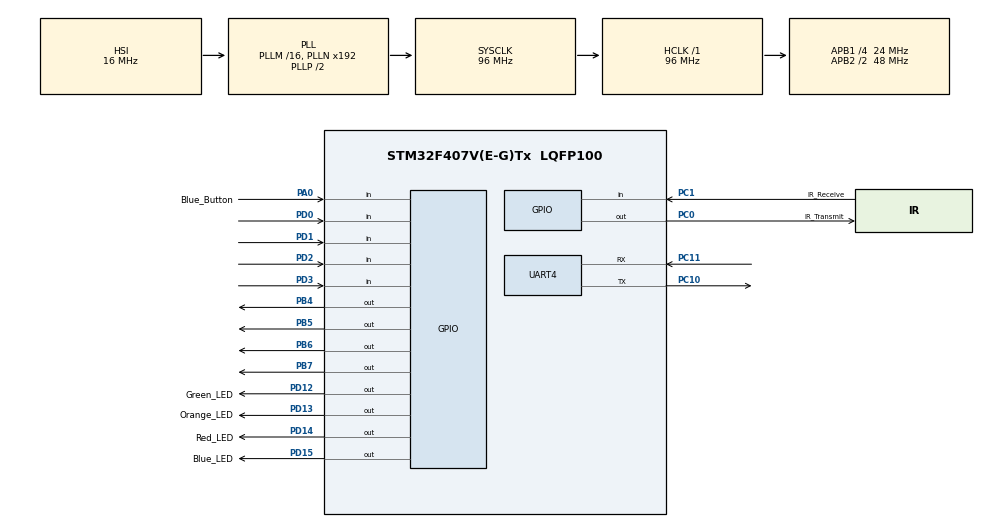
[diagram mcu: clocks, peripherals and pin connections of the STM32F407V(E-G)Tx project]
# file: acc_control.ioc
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Mcu.Family=STM32F4
Mcu.Name=STM32F407V(E-G)Tx
Mcu.Package=LQFP100
NVIC.PriorityGroup=NVIC_PRIORITYGROUP_4
NVIC.TIM6_DAC_IRQn=true\:0\:0\:false\:false\:true\:false\:true
NVIC.TimeBase=TIM6_DAC_IRQn
NVIC.TimeBaseIP=TIM6
PA0-WKUP.GPIO_Label=Blue_Button
PA0-WKUP.Signal=GPIO_Input
PA13.Mode=Serial_Wire
PA13.Signal=SYS_JTMS-SWDIO
PA14.Mode=Serial_Wire
PA14.Signal=SYS_JTCK-SWCLK
PB4.Signal=GPIO_Output
PB5.Signal=GPIO_Output
PB6.Signal=GPIO_Output
PB7.Signal=GPIO_Output
PC0.GPIO_Label=IR_Transmit
PC0.Signal=GPIO_Output
PC1.GPIO_Label=IR_Receive
PC1.Signal=GPIO_Input
PC10.Mode=Asynchronous
PC10.Signal=UART4_TX
PC11.Mode=Asynchronous
PC11.Signal=UART4_RX
PD0.Signal=GPIO_Input
PD1.Signal=GPIO_Input
PD12.GPIO_Label=Green_LED
PD12.Signal=GPIO_Output
PD13.GPIO_Label=Orange_LED
PD13.Signal=GPIO_Output
PD14.GPIO_Label=Red_LED
PD14.Signal=GPIO_Output
PD15.GPIO_Label=Blue_LED
PD15.Signal=GPIO_Output
PD2.Signal=GPIO_Input
PD3.Signal=GPIO_Input
ProjectManager.HeapSize=0x200
ProjectManager.StackSize=0x400
ProjectManager.TargetToolchain=STM32CubeIDE
RCC.AHBFreq_Value=96000000
RCC.APB1CLKDivider=RCC_HCLK_DIV4
RCC.APB1Freq_Value=24000000
RCC.APB1TimFreq_Value=48000000
RCC.APB2CLKDivider=RCC_HCLK_DIV2
RCC.APB2Freq_Value=48000000
RCC.APB2TimFreq_Value=96000000
RCC.CortexFreq_Value=96000000
RCC.HCLKFreq_Value=96000000
RCC.HSE_VALUE=25000000
RCC.HSI_VALUE=16000000
RCC.LSE_VALUE=32768
RCC.SYSCLKFreq_VALUE=96000000
RCC.SYSCLKSource=RCC_SYSCLKSOURCE_PLLCLK
RCC.VCOOutputFreq_Value=192000000
TIM1.Prescaler=76-1
UART4.VirtualMode=Asynchronous
VP_SYS_VS_tim6.Mode=TIM6
VP_TIM1_VS_ClockSourceINT.Mode=Internal
board=custom

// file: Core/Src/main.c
/* USER CODE BEGIN Header */
/**
  ******************************************************************************
  * @file           : main.c
  * @brief          : Main program body
  ******************************************************************************
  * @attention
  *
  * <h2><center>&copy; Copyright (c) 2021 STMicroelectronics.
  * All rights reserved.</center></h2>
  *
  * This software component is licensed by ST under BSD 3-Clause license,
  * the "License"; You may not use this file except in compliance with the
  * License. You may obtain a copy of the License at:
  *                        opensource.org/licenses/BSD-3-Clause
  *
  ******************************************************************************
  */
/* USER CODE END Header */
#include "main.h"

/* USER CODE BEGIN Includes */
#include "printf.h"
/* USER CODE END Includes */

TIM_HandleTypeDef htim1;

UART_HandleTypeDef huart4;

void SystemClock_Config(void);
static void MX_GPIO_Init(void);
static void MX_UART4_Init(void);
static void MX_TIM1_Init(void);

/* USER CODE BEGIN 0 */
void    led_task(void const *pvParameters);
void switch_task(void const *pvParameters);
void numpad_task(void const *pvParameters);
void ir_rev_task(void const *pvParameters);
void ir_trm_task(void const *pvParameters);

void delay_us (uint16_t us);
/* USER CODE END 0 */

int main(void)
{

  /* MCU Configuration--------------------------------------------------------*/

  /* Reset of all peripherals, Initializes the Flash interface and the Systick. */
  HAL_Init();

  /* Configure the system clock */
  SystemClock_Config();

  /* Initialize all configured peripherals */
  MX_GPIO_Init();
  MX_UART4_Init();
  MX_TIM1_Init();
  /* USER CODE BEGIN 2 */
  HAL_TIM_Base_Start(&htim1);

  //xTaskCreate(led_task, "led_task", 500, NULL, 1, NULL);
  //xTaskCreate(switch_task, "switch_task", 500, NULL, 1, NULL);
  //xTaskCreate(numpad_task, "numpad_task", 500, NULL, 1, NULL);
  //xTaskCreate(ir_rev_task, "ir_rev_task", 1000, NULL, 1, NULL);
  //xTaskCreate(ir_trm_task, "ir_trm_task", 500, NULL, 1, NULL);

  printf("\n\r[main] Start Scheduler \n\r");
  //vTaskStartScheduler();
  /* USER CODE END 2 */

  /* Infinite loop */
  /* USER CODE BEGIN WHILE */

  uint32_t temp;
  printf("[ir_rev_task] Start\n\r");
  printf("[ir_rev_task] State: wait 1st low \n\r");
  while (1)
  {
    /* USER CODE END WHILE */
	__HAL_TIM_SET_COUNTER(&htim1,0);
	while (HAL_GPIO_ReadPin (IR_Receive_GPIO_Port, IR_Receive_Pin));
	temp = __HAL_TIM_GET_COUNTER(&htim1);
	printf("+%d", temp);

	__HAL_TIM_SET_COUNTER(&htim1,0);
	while (!(HAL_GPIO_ReadPin (IR_Receive_GPIO_Port, IR_Receive_Pin)));
    temp = __HAL_TIM_GET_COUNTER(&htim1);
	printf("-%d", temp);

  }
}

void SystemClock_Config(void)
{
  RCC_OscInitTypeDef RCC_OscInitStruct = {0};
  RCC_ClkInitTypeDef RCC_ClkInitStruct = {0};

  /** Configure the main internal regulator output voltage
  */
  __HAL_RCC_PWR_CLK_ENABLE();
  __HAL_PWR_VOLTAGESCALING_CONFIG(PWR_REGULATOR_VOLTAGE_SCALE1);
  /** Initializes the RCC Oscillators according to the specified parameters
  * in the RCC_OscInitTypeDef structure.
  */
  RCC_OscInitStruct.OscillatorType = RCC_OSCILLATORTYPE_HSI;
  RCC_OscInitStruct.HSIState = RCC_HSI_ON;
  RCC_OscInitStruct.HSICalibrationValue = RCC_HSICALIBRATION_DEFAULT;
  RCC_OscInitStruct.PLL.PLLState = RCC_PLL_ON;
  RCC_OscInitStruct.PLL.PLLSource = RCC_PLLSOURCE_HSI;
  RCC_OscInitStruct.PLL.PLLM = 16;
  RCC_OscInitStruct.PLL.PLLN = 192;
  RCC_OscInitStruct.PLL.PLLP = RCC_PLLP_DIV2;
  RCC_OscInitStruct.PLL.PLLQ = 4;
  if (HAL_RCC_OscConfig(&RCC_OscInitStruct) != HAL_OK)
  {
    Error_Handler();
  }
  /** Initializes the CPU, AHB and APB buses clocks
  */
  RCC_ClkInitStruct.ClockType = RCC_CLOCKTYPE_HCLK|RCC_CLOCKTYPE_SYSCLK
                              |RCC_CLOCKTYPE_PCLK1|RCC_CLOCKTYPE_PCLK2;
  RCC_ClkInitStruct.SYSCLKSource = RCC_SYSCLKSOURCE_PLLCLK;
  RCC_ClkInitStruct.AHBCLKDivider = RCC_SYSCLK_DIV1;
  RCC_ClkInitStruct.APB1CLKDivider = RCC_HCLK_DIV4;
  RCC_ClkInitStruct.APB2CLKDivider = RCC_HCLK_DIV2;

  if (HAL_RCC_ClockConfig(&RCC_ClkInitStruct, FLASH_LATENCY_3) != HAL_OK)
  {
    Error_Handler();
  }
}

static void MX_TIM1_Init(void)
{

  TIM_ClockConfigTypeDef sClockSourceConfig = {0};
  TIM_MasterConfigTypeDef sMasterConfig = {0};

  htim1.Instance = TIM1;
  htim1.Init.Prescaler = 76-1;
  htim1.Init.CounterMode = TIM_COUNTERMODE_UP;
  htim1.Init.Period = 65535;
  htim1.Init.ClockDivision = TIM_CLOCKDIVISION_DIV1;
  htim1.Init.RepetitionCounter = 0;
  htim1.Init.AutoReloadPreload = TIM_AUTORELOAD_PRELOAD_DISABLE;
  if (HAL_TIM_Base_Init(&htim1) != HAL_OK)
  {
    Error_Handler();
  }
  sClockSourceConfig.ClockSource = TIM_CLOCKSOURCE_INTERNAL;
  if (HAL_TIM_ConfigClockSource(&htim1, &sClockSourceConfig) != HAL_OK)
  {
    Error_Handler();
  }
  sMasterConfig.MasterOutputTrigger = TIM_TRGO_RESET;
  sMasterConfig.MasterSlaveMode = TIM_MASTERSLAVEMODE_DISABLE;
  if (HAL_TIMEx_MasterConfigSynchronization(&htim1, &sMasterConfig) != HAL_OK)
  {
    Error_Handler();
  }

}

static void MX_UART4_Init(void)
{

  huart4.Instance = UART4;
  huart4.Init.BaudRate = 115200;
  huart4.Init.WordLength = UART_WORDLENGTH_8B;
  huart4.Init.StopBits = UART_STOPBITS_1;
  huart4.Init.Parity = UART_PARITY_NONE;
  huart4.Init.Mode = UART_MODE_TX_RX;
  huart4.Init.HwFlowCtl = UART_HWCONTROL_NONE;
  huart4.Init.OverSampling = UART_OVERSAMPLING_16;
  if (HAL_UART_Init(&huart4) != HAL_OK)
  {
    Error_Handler();
  }

}

static void MX_GPIO_Init(void)
{
  GPIO_InitTypeDef GPIO_InitStruct = {0};

  /* GPIO Ports Clock Enable */
  __HAL_RCC_GPIOC_CLK_ENABLE();
  __HAL_RCC_GPIOA_CLK_ENABLE();
  __HAL_RCC_GPIOD_CLK_ENABLE();
  __HAL_RCC_GPIOB_CLK_ENABLE();

  /*Configure GPIO pin Output Level */
  HAL_GPIO_WritePin(IR_Transmit_GPIO_Port, IR_Transmit_Pin, GPIO_PIN_RESET);

  /*Configure GPIO pin Output Level */
  HAL_GPIO_WritePin(GPIOD, Green_LED_Pin|Orange_LED_Pin|Red_LED_Pin|Blue_LED_Pin, GPIO_PIN_RESET);

  /*Configure GPIO pin Output Level */
  HAL_GPIO_WritePin(GPIOB, GPIO_PIN_4|GPIO_PIN_5|GPIO_PIN_6|GPIO_PIN_7, GPIO_PIN_RESET);

  /*Configure GPIO pin : IR_Transmit_Pin */
  GPIO_InitStruct.Pin = IR_Transmit_Pin;
  GPIO_InitStruct.Mode = GPIO_MODE_OUTPUT_PP;
  GPIO_InitStruct.Pull = GPIO_NOPULL;
  GPIO_InitStruct.Speed = GPIO_SPEED_FREQ_LOW;
  HAL_GPIO_Init(IR_Transmit_GPIO_Port, &GPIO_InitStruct);

  /*Configure GPIO pin : IR_Receive_Pin */
  GPIO_InitStruct.Pin = IR_Receive_Pin;
  GPIO_InitStruct.Mode = GPIO_MODE_INPUT;
  GPIO_InitStruct.Pull = GPIO_NOPULL;
  HAL_GPIO_Init(IR_Receive_GPIO_Port, &GPIO_InitStruct);

  /*Configure GPIO pin : Blue_Button_Pin */
  GPIO_InitStruct.Pin = Blue_Button_Pin;
  GPIO_InitStruct.Mode = GPIO_MODE_INPUT;
  GPIO_InitStruct.Pull = GPIO_NOPULL;
  HAL_GPIO_Init(Blue_Button_GPIO_Port, &GPIO_InitStruct);

  /*Configure GPIO pins : Green_LED_Pin Orange_LED_Pin Red_LED_Pin Blue_LED_Pin */
  GPIO_InitStruct.Pin = Green_LED_Pin|Orange_LED_Pin|Red_LED_Pin|Blue_LED_Pin;
  GPIO_InitStruct.Mode = GPIO_MODE_OUTPUT_PP;
  GPIO_InitStruct.Pull = GPIO_NOPULL;
  GPIO_InitStruct.Speed = GPIO_SPEED_FREQ_LOW;
  HAL_GPIO_Init(GPIOD, &GPIO_InitStruct);

  /*Configure GPIO pins : PD0 PD1 PD2 PD3 */
  GPIO_InitStruct.Pin = GPIO_PIN_0|GPIO_PIN_1|GPIO_PIN_2|GPIO_PIN_3;
  GPIO_InitStruct.Mode = GPIO_MODE_INPUT;
  GPIO_InitStruct.Pull = GPIO_NOPULL;
  HAL_GPIO_Init(GPIOD, &GPIO_InitStruct);

  /*Configure GPIO pins : PB4 PB5 PB6 PB7 */
  GPIO_InitStruct.Pin = GPIO_PIN_4|GPIO_PIN_5|GPIO_PIN_6|GPIO_PIN_7;
  GPIO_InitStruct.Mode = GPIO_MODE_OUTPUT_PP;
  GPIO_InitStruct.Pull = GPIO_NOPULL;
  GPIO_InitStruct.Speed = GPIO_SPEED_FREQ_LOW;
  HAL_GPIO_Init(GPIOB, &GPIO_InitStruct);

}

/* USER CODE BEGIN 4 */
void led_task(void const *pvParameters) {

	while(1){
		printf("[   led_task] Start\n\r");
		HAL_GPIO_TogglePin(Green_LED_GPIO_Port, Green_LED_Pin);
		HAL_GPIO_TogglePin(Blue_LED_GPIO_Port, Blue_LED_Pin);
		HAL_GPIO_TogglePin(Orange_LED_GPIO_Port, Orange_LED_Pin);
		HAL_GPIO_TogglePin(Red_LED_GPIO_Port, Red_LED_Pin);
		vTaskDelay(1000);
	}
}

void switch_task(void const *pvParameters) {

	int button_state = not_pressed;

	while(1){
		if (HAL_GPIO_ReadPin(Blue_Button_GPIO_Port, Blue_Button_Pin)){
			vTaskDelay(100);
			// Debounce Checking
			if (HAL_GPIO_ReadPin(Blue_Button_GPIO_Port, Blue_Button_Pin)){
				if (button_state == not_pressed){
					button_state = pressed;
					printf("[switch_task] Send\n\r");
				}
				// else do nothing on long press
			}
			else {
				button_state = not_pressed;
			}
		}
		else {
			button_state = not_pressed;
		}
	}
}

void delay_us (uint16_t us)
{
	__HAL_TIM_SET_COUNTER(&htim1,0);  // set the counter value a 0
	while (__HAL_TIM_GET_COUNTER(&htim1) < us);  // wait for the counter to reach the us input in the parameter
}

/* USER CODE END 4 */

 /**
  * @brief  Period elapsed callback in non blocking mode
  * @note   This function is called  when TIM6 interrupt took place, inside
  * HAL_TIM_IRQHandler(). It makes a direct call to HAL_IncTick() to increment
  * a global variable "uwTick" used as application time base.
  * @param  htim : TIM handle
  * @retval None
  */
void HAL_TIM_PeriodElapsedCallback(TIM_HandleTypeDef *htim)
{
  if (htim->Instance == TIM6) {
    HAL_IncTick();
  }
}

void Error_Handler(void)
{
  __disable_irq();
  while (1)
  {
  }
}

/************************ (C) COPYRIGHT STMicroelectronics *****END OF FILE****/
